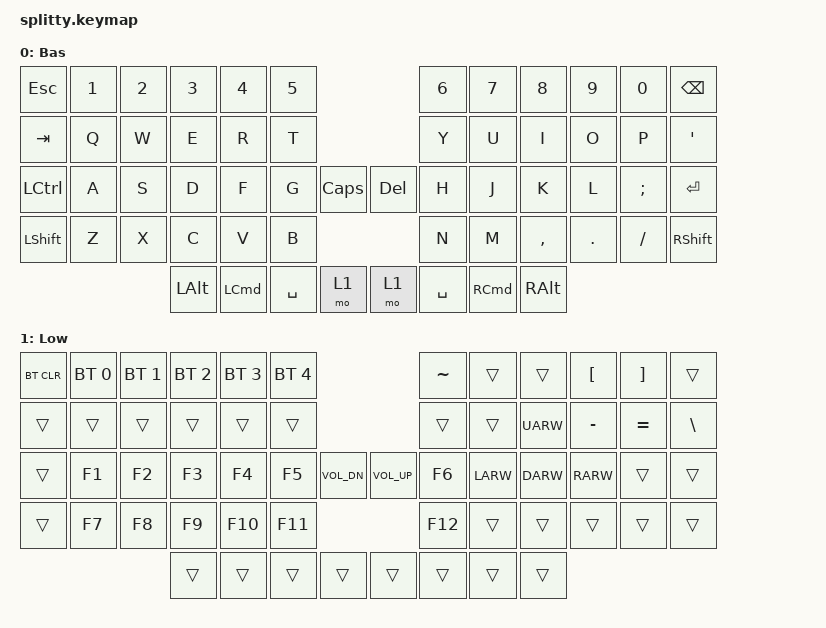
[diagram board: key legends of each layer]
#include <behaviors.dtsi>
#include <dt-bindings/zmk/keys.h>
#include <dt-bindings/zmk/bt.h>
#include <dt-bindings/zmk/ext_power.h>

/ {
	keymap {
		compatible = "zmk,keymap";
		
		default_layer {
			display-name = "Bas";
			bindings = <
				&kp ESC			&kp N1			&kp N2			&kp N3			&kp N4			&kp N5													&kp N6			&kp N7			&kp N8			&kp N9			&kp N0			&kp BSPC
				&kp TAB			&kp Q			&kp W			&kp E			&kp R			&kp T													&kp Y			&kp U			&kp I			&kp O			&kp P			&kp APOS
				&kp LCTRL		&kp A			&kp S			&kp D			&kp F			&kp G			&kp CAPS				&kp DEL			&kp H			&kp J			&kp K			&kp L			&kp SEMI		&kp RET
				&kp LSHFT		&kp Z			&kp X			&kp C			&kp V			&kp B													&kp N			&kp M			&kp COMMA		&kp DOT			&kp FSLH		&kp RSHFT
																&kp LALT		&kp LCMD		&kp SPACE		&mo 1					&mo 1			&kp SPACE		&kp RCMD		&kp RALT
			>;	
		};
		
		lower_layer {
			display-name = "Low";
			bindings = <
				&bt BT_CLR		&bt BT_SEL 0	&bt BT_SEL 1  	&bt BT_SEL 2   	&bt BT_SEL 3   	&bt BT_SEL 4											&kp TILDE		&trans			&trans			&kp LBKT		&kp RBKT		&trans
				&trans			&trans			&trans			&trans			&trans			&trans													&trans			&trans			&kp UARW		&kp MINUS		&kp EQUAL		&kp BSLH
				&trans			&kp F1			&kp F2			&kp F3			&kp F4			&kp F5			&kp C_VOL_DN			&kp C_VOL_UP	&kp F6			&kp LARW		&kp DARW		&kp RARW		&trans			&trans
				&trans			&kp F7			&kp F8			&kp F9			&kp F10			&kp F11													&kp F12			&trans			&trans			&trans			&trans			&trans
																&trans			&trans			&trans			&trans					&trans			&trans			&trans			&trans
			>;	
		};
	};
};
